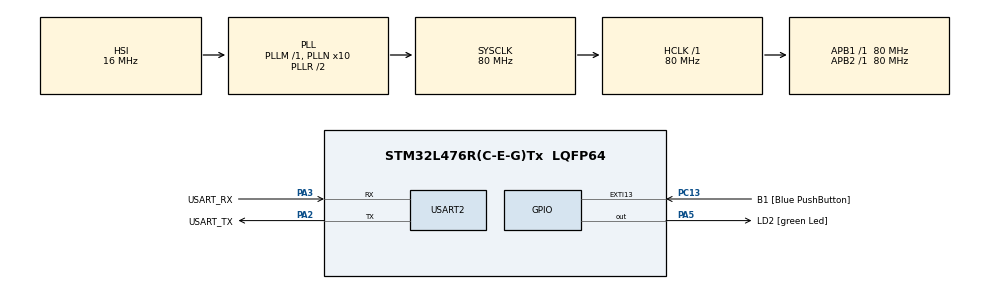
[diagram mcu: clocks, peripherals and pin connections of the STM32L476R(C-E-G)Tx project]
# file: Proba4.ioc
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Mcu.Family=STM32L4
Mcu.Name=STM32L476R(C-E-G)Tx
Mcu.Package=LQFP64
NVIC.PriorityGroup=NVIC_PRIORITYGROUP_4
NVIC.USART2_IRQn=true\:0\:0\:false\:false\:true\:true\:true\:true
PA13\ (JTMS-SWDIO).GPIO_Label=TMS
PA13\ (JTMS-SWDIO).Mode=Serial_Wire
PA13\ (JTMS-SWDIO).Signal=SYS_JTMS-SWDIO
PA14\ (JTCK-SWCLK).GPIO_Label=TCK
PA14\ (JTCK-SWCLK).Mode=Serial_Wire
PA14\ (JTCK-SWCLK).Signal=SYS_JTCK-SWCLK
PA2.GPIO_Label=USART_TX
PA2.GPIO_Mode=GPIO_MODE_AF_PP
PA2.GPIO_PuPd=GPIO_NOPULL
PA2.GPIO_Speed=GPIO_SPEED_FREQ_VERY_HIGH
PA2.Mode=Asynchronous
PA2.Signal=USART2_TX
PA3.GPIO_Label=USART_RX
PA3.GPIO_Mode=GPIO_MODE_AF_PP
PA3.GPIO_PuPd=GPIO_NOPULL
PA3.GPIO_Speed=GPIO_SPEED_FREQ_VERY_HIGH
PA3.Mode=Asynchronous
PA3.Signal=USART2_RX
PA5.GPIO_Label=LD2 [green Led]
PA5.GPIO_ModeDefaultOutputPP=GPIO_MODE_OUTPUT_PP
PA5.GPIO_PuPd=GPIO_NOPULL
PA5.GPIO_Speed=GPIO_SPEED_FREQ_LOW
PA5.Signal=GPIO_Output
PB3\ (JTDO-TRACESWO).GPIO_Label=SWO
PB3\ (JTDO-TRACESWO).Signal=SYS_JTDO-SWO
PC13.GPIO_Label=B1 [Blue PushButton]
PC13.GPIO_ModeDefaultEXTI=GPIO_MODE_IT_FALLING
PC13.GPIO_PuPd=GPIO_NOPULL
PC13.Signal=GPXTI13
PC14-OSC32_IN\ (PC14).Mode=LSE-External-Oscillator
PC14-OSC32_IN\ (PC14).Signal=RCC_OSC32_IN
PC15-OSC32_OUT\ (PC15).Mode=LSE-External-Oscillator
PC15-OSC32_OUT\ (PC15).Signal=RCC_OSC32_OUT
PH0-OSC_IN\ (PH0).Signal=RCC_OSC_IN
PH1-OSC_OUT\ (PH1).Signal=RCC_OSC_OUT
ProjectManager.HeapSize=0x200
ProjectManager.StackSize=0x400
ProjectManager.TargetToolchain=STM32CubeIDE
RCC.ADCFreq_Value=64000000
RCC.AHBFreq_Value=80000000
RCC.APB1Freq_Value=80000000
RCC.APB1TimFreq_Value=80000000
RCC.APB2Freq_Value=80000000
RCC.APB2TimFreq_Value=80000000
RCC.CortexFreq_Value=80000000
RCC.HCLKFreq_Value=80000000
RCC.HSE_VALUE=8000000
RCC.HSI_VALUE=16000000
RCC.MSI_VALUE=4000000
RCC.PLLN=10
RCC.PLLSourceVirtual=RCC_PLLSOURCE_HSI
RCC.PREFETCH_ENABLE=1
RCC.SYSCLKFreq_VALUE=80000000
RCC.SYSCLKSource=RCC_SYSCLKSOURCE_PLLCLK
RCC.USBFreq_Value=64000000
RCC.VCOOutputFreq_Value=160000000
USART2.OverrunDisableParam=ADVFEATURE_OVERRUN_ENABLE
USART2.VirtualMode-Asynchronous=VM_ASYNC
board=NUCLEO-L476RG

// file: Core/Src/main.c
/* USER CODE BEGIN Header */
/**
  ******************************************************************************
  * @file           : main.c
  * @brief          : Main program body
  ******************************************************************************
  * @attention
  *
  * Copyright (c) 2024 STMicroelectronics.
  * All rights reserved.
  *
  * This software is licensed under terms that can be found in the LICENSE file
  * in the root directory of this software component.
  * If no LICENSE file comes with this software, it is provided AS-IS.
  *
  ******************************************************************************
  */
/* USER CODE END Header */
#include "main.h"

/* USER CODE BEGIN Includes */
#include <stdarg.h>
#include <time.h>
#include <stdio.h>
#include <stdlib.h>
#include <math.h>
#include <string.h>
/* USER CODE END Includes */

/* USER CODE BEGIN PD */
#define USART_TXBUF_LEN 1512 //Długosc bufora kolowego do nadawania
#define USART_RXBUF_LEN 512  //Dlugosc bufora odbiorczego
UART_HandleTypeDef huart2;
uint8_t timer = 0;

uint8_t USART_TxBuf [USART_TXBUF_LEN];
uint8_t USART_RxBuf [USART_RXBUF_LEN];

//__IO przykrywa volatile, mówi kompilatorowi, aby nie optymalizował tej zmiennej. Za karzdym razem pobiera wartosc zmiennej z pamieci

//Wskazniki bufora nadawczego
__IO uint16_t USART_TX_Empty = 0;
__IO uint16_t USART_TX_Busy = 0;

//Wskazniki bufora odbiorczego
__IO uint16_t USART_RX_Empty = 0;
__IO uint16_t USART_RX_Busy = 0;
uint8_t debug = 0;

struct frame
{
	uint8_t frameDetected;
	uint16_t frameSize;
	char sender[4];
	char receiver[4];
	uint8_t dataSize;
	char *data;
	uint8_t checksumCalculated;
	uint8_t checksumFromFrame;
};

struct measurement
{
	uint8_t current;
	uint16_t interval;
	int16_t data[512];
};

struct frame frame;
struct measurement measurement;
/* USER CODE END PD */

UART_HandleTypeDef huart2;

void SystemClock_Config(void);
static void MX_GPIO_Init(void);
static void MX_USART2_UART_Init(void);

/* USER CODE BEGIN 0 */
void my_tout_1ms()
{
	static uint16_t ms = 0;
	ms++;

	if(ms >= measurement.interval)
	{
		ms = 0;
		timer = 1;
	}
}

//Zwraca 0, jesli bufor jest pusty. Natomiast 1, jezeli w buforze cos sie znajduje
uint8_t USART_khbit()
{
	if (USART_RX_Empty == USART_RX_Busy)
		return 0;
	else
		return 1;
}

//Pobieranie znaku z bufora
int16_t USART_getchar()
{
	uint8_t temp;
	if (USART_RX_Empty != USART_RX_Busy){
		temp = USART_RxBuf[USART_RX_Busy];
		USART_RX_Busy++;

		if (USART_RX_Busy >= USART_RXBUF_LEN)
			USART_RX_Busy = 0;

		return temp;
	}
	else return -1;
	// Zwraca -1, jezeli nic nie znajduje sie w buforze
}

//Pobieranie calej linii z bufora do podanego wskaznika
uint8_t USART_getline(char *buf)
{
	static uint8_t bf[300];
	static uint8_t idx = 0;
	int i;
	uint8_t ret;

	while(USART_khbit())
	{
		bf[idx] = USART_getchar();

		if(bf[idx] == 10 || bf[idx] == 13) //Sprawdzanie, czy znak nie jest znakiem konca linii, badz powrotu karetki
		{
			bf[idx] = 0; //Podmiana znaku na zero, poniewaz w C 0 to koniec stringa

			for(i = 0; i <= idx; i++)
				buf[i] = bf[i];

			ret = idx;
			idx = 0;
			return ret;
		}
		else
		{
			idx++;
			if (idx>= 300)
				idx = 0;
		}
	}
	return 0;
}

//Dopisywanie do bufora nadawczego
void USART_fsend(char* format,...)
{
	char tmp_rx[128];
	int i;
	__IO int idx;

	va_list arglist;
	va_start(arglist, format);
	vsprintf(tmp_rx, format, arglist);
	va_end(arglist);

	idx=USART_TX_Empty;

	for (i = 0 ; i < strlen(tmp_rx);i++)
	{
		USART_TxBuf[idx]=tmp_rx[i];
		idx++;
		if (idx>=USART_TXBUF_LEN){
			idx =0;
		}
	}

	__disable_irq(); //Blokuje przerwania w sposób softwerowy
	if ((USART_TX_Empty == USART_TX_Busy) && (__HAL_UART_GET_FLAG(&huart2, UART_FLAG_TXE) == SET))
	{
		USART_TX_Empty=idx;
		uint8_t tmp = USART_TxBuf[USART_TX_Busy];
		USART_TX_Busy++;
		if (USART_TX_Busy >= USART_TXBUF_LEN) USART_TX_Busy = 0;
		HAL_UART_Transmit_IT(&huart2, &tmp, 1);
	}
	else
		USART_TX_Empty = idx;

	__enable_irq();
}

void HAL_UART_TxCpltCallback(UART_HandleTypeDef *huart)
{
	if (huart == &huart2)
	{
		if (USART_TX_Empty != USART_TX_Busy)
		{
			uint8_t temp = USART_TxBuf[USART_TX_Busy];
			USART_TX_Busy++;
			if (USART_TX_Busy >= USART_TXBUF_LEN) USART_TX_Busy =0;
			HAL_UART_Transmit_IT(&huart2, &temp, 1);
		}
	}
}

void HAL_UART_RxCpltCallback(UART_HandleTypeDef *huart){
	if (huart == &huart2)
	{
		USART_RX_Empty++;
			if (USART_RX_Empty >= USART_RXBUF_LEN) USART_RX_Empty = 0;
			HAL_UART_Receive_IT(&huart2, &USART_RxBuf[USART_RX_Empty], 1);
	}
}

uint8_t calculateChecksum(char* command, uint8_t size)
{
	uint16_t checksum = 0;
	int i;

	for(i = 0; i < size; i++)
	{
		checksum += (int)command[i];
	}
	checksum %= 100;

	return checksum;
}

int16_t getArchiveValue(uint16_t i)
{
	int pointer = measurement.current - i;

	if(pointer < 0)
	{
		pointer = 511 + pointer;
	}

	return measurement.data[pointer];
}

void sendFrame(char* data)
{
	int dataLength = strlen(data);

	USART_fsend(":STMPC0%03d%s%02d;", dataLength, data, calculateChecksum(data, dataLength));
}

void executeCommand()
{
	// Odczytywanie komendy
	int i;
	int j;
	char* tmp = malloc(frame.dataSize * sizeof(char) + 1);
	uint8_t detectedParameter = 0;

	for(i = 0; i < frame.dataSize; i++)
	{
		if(frame.data[i] == ' ')
		{
			detectedParameter = 1;
			break;
		}
		tmp[i] = frame.data[i];
	}
	tmp[i] = 0;

	// Odczyt interwału pomiarowego
	if(strcmp(tmp, "GT") == 0)
	{
		sprintf(tmp, "STV %d", measurement.interval);
		sprintf(tmp, "Aktualny interwal wynosi: %d", measurement.interval);
		sendFrame(tmp);
		return;
	}
	// Odczyt aktualnej wartości
	else if(strcmp(tmp, "GM") == 0)
	{

		sprintf(tmp, " Odczytywanie aktualnej wartosci: SM %d", measurement.data[measurement.current]);
		sendFrame(tmp);
		return;
	}
	// Ustawienie interwału pomiarowego
	else if(strcmp(tmp, "ST") == 0)
	{
		if(detectedParameter == 0)
		{
			// Brak argumentu
			sprintf(tmp, "ERRARGV");
			sendFrame(tmp);
			return;
		}
		else
		{
			for(i = 3; i < frame.dataSize; i++)
			{
				tmp[i - 3] = frame.data[i];
			}
			tmp[i - 3] = 0;

			int interval = atoi(tmp);

			if(interval >= 100 && interval <= 10000)
			{
				// Informacja o aktualizacji intwrwału pomiarowego
				measurement.interval = interval;
				sprintf(tmp, "TU %d", measurement.interval);
				sendFrame(tmp);
				return;
			}
			else
			{
				// Nieprawidłowy zakres argumentu
				sprintf(tmp, "ERRARGVF");
				sendFrame(tmp);
				return;
			}
		}
	}
	else if(strcmp(tmp, "GAM") == 0)
		{
			if(detectedParameter == 0)
			{
				// Brak argumentu
				sprintf(tmp, "ERRARGV");
				sendFrame(tmp);
				return;
			}
			else
			{
				for(i = 3; i < frame.dataSize; i++)
				{
					tmp[i - 3] = frame.data[i];
				}

				int archiveValue = atoi(tmp);

				if(archiveValue >= 1 && archiveValue <= 511)
				{

					// Informacja o aktualizacji intwrwału pomiarowego
					sprintf(tmp, "SAM %d", getArchiveValue(archiveValue));
					sendFrame(tmp);
					return;
				}
				else
				{
					// Nieprawidłowy zakres argumentu
					sprintf(tmp, "ERRARGVF");
					sendFrame(tmp);
					return;
				}
			}
		}
	// Nie rozpoznana komenda
	else
	{
		sprintf(tmp, "ERRCMD");
		sendFrame(tmp);
		return;
	}
}

/* USER CODE END 0 */

int main(void)
{

  /* MCU Configuration--------------------------------------------------------*/

  /* Reset of all peripherals, Initializes the Flash interface and the Systick. */
  HAL_Init();

  /* Configure the system clock */
  SystemClock_Config();

  /* Initialize all configured peripherals */
  MX_GPIO_Init();
  MX_USART2_UART_Init();
  /* USER CODE BEGIN 2 */
USART_fsend("STM start\r\n");
  /* USER CODE END 2 */

  /* Infinite loop */
  /* USER CODE BEGIN WHILE */
  // TO DO
//  MX_I2C1_Init(); // Make sure this is defined and initializes I2C1 properly
//  LPS25HB_INIT(&hi2c1);

  HAL_UART_Receive_IT(&huart2, &USART_RxBuf[0], 1);
   int i;
   char dataSize[4];
   char checkSum[3];
   char recievedFrame[269];
   char recievedChar;
   uint8_t charCoddingDetected;
   srand(time(NULL));

   frame.frameDetected = 0;
   measurement.current = 0;
   measurement.interval = 1000;

  while (1)
  {
    /* USER CODE END WHILE */
  	if(timer)
  	{
  HAL_GPIO_TogglePin(LD2_GPIO_Port, LD2_Pin);

  measurement.current++;
  measurement.data[measurement.current] = rand() % 100;

  if(measurement.current > 511)
  	measurement.current = 0;

  timer = 0;
  	}

  	if(USART_khbit())
  	{
  recievedChar = USART_getchar();

  if(recievedChar == ':')
  {
  	frame.frameDetected = 1;
  	frame.frameSize = 0;
  	charCoddingDetected = 0;
  	continue;
  }

  if(frame.frameDetected && frame.frameSize < 269)
  {
  	// Dekodowanie znaków

  	if(recievedChar == '\\' && charCoddingDetected == 0)
  	{
  		charCoddingDetected = 1;
  	}
  	else if(charCoddingDetected)
  	{
  		if(recievedChar == 'A')
  		{
  			recievedFrame[frame.frameSize] = ':';
  		}
  		else if(recievedChar == 'B')
  		{
  			recievedFrame[frame.frameSize] = ';';
  		}
  		else if(recievedChar == 'C')
  		{
  			recievedFrame[frame.frameSize] = '\\';
  		}
  		else
  		{
  			// Nierozpoznane kodowanie
  			frame.frameDetected = 0;
  			USART_fsend(":STMPC0002ED%02d;", calculateChecksum("ED", 2));
  		}

  		frame.frameSize++;
  		charCoddingDetected = 0;
  	}
  	else if(recievedChar == ';')
  	{

  		if(frame.frameSize < 13)
  		{
  			frame.frameDetected = 0;
  			continue;
  		}

  		recievedFrame[frame.frameSize] = 0;

  		for(i = 0; i < 3; i++)
  		{
  			frame.sender[i] = recievedFrame[i];
  			frame.receiver[i] = recievedFrame[i + 3];
  			dataSize[i] = recievedFrame[i + 6];
  		}

  		frame.sender[3] = 0;
  		frame.receiver[3] = 0;
  		dataSize[3] = 0;
  		frame.dataSize = atoi(dataSize);
  		frame.data = malloc(frame.dataSize * sizeof(char) + 1);

  		// Przepisanie danych
  		for(i = 0; i < frame.dataSize; i++)
  		{
  			frame.data[i] = recievedFrame[i + 9];
  		}

  		frame.data[i] = 0;

  		// Odczy
  		for(i = 0; i < 2; i++)
  		{
  			checkSum[i] = recievedFrame[i + 9 + frame.dataSize];
  		}
  		checkSum[3] = 0;
  		frame.checksumFromFrame = atoi(checkSum);
  		frame.checksumCalculated = calculateChecksum(frame.data, frame.dataSize);

  		if(debug)
  		{
  			USART_fsend("\r\n\nDANE Z RAMKI:\r\n", recievedFrame);
  			USART_fsend("%s\r\n", recievedFrame);
  			USART_fsend("Sender: %s\r\n", frame.sender);
  			USART_fsend("Reciever: %s\r\n", frame.receiver);
  			USART_fsend("Data size: %03d\r\n", frame.dataSize);
  			USART_fsend("Data: %s\r\n", frame.data);
  			USART_fsend("Check sum from frame: %02d\r\n", frame.checksumFromFrame);
  			USART_fsend("Calculated checksum: %02d\r\n", frame.checksumCalculated);
  		}

  		// Ignorowanie ramki nie wysłanej przez PC0
  		if(strcmp(frame.sender, "PC0") != 0)
  			continue;

  		// Ignorowanie ramki nie przeznaczonej dla STM
  		if(strcmp(frame.receiver, "STM") != 0)
  			continue;

  		// Niewłaściwa suma kontrolna, wysłanie ramki z odpowiednim błędem
  		if(frame.checksumCalculated != frame.checksumFromFrame)
  		{
  			 USART_fsend("Otrzymana suma kontrolna: %02d, Obliczona suma kontrolna: %02d\r\n", frame.checksumFromFrame, frame.checksumCalculated);
  			USART_fsend("Dane do obliczenia sumy kontrolnej: '%s'\r\n", frame.data);
  			frame.checksumCalculated = calculateChecksum(frame.data, frame.dataSize);
  			 USART_fsend(":STMPC0005ERRCS%02d;", calculateChecksum("ERRCS", 5));
  			continue;
  		}

  		executeCommand();
  	}
  	else
  	{

  		recievedFrame[frame.frameSize] = recievedChar;
  		frame.frameSize++;

  		if(frame.frameSize >= 269)
  		{
  			frame.frameDetected = 0;
  		}

  	}
  }
  else if(frame.frameDetected && frame.frameSize >= 269)
  {
  	frame.frameDetected = 0;
  }
  	}
  }
}

void SystemClock_Config(void)
{
  RCC_OscInitTypeDef RCC_OscInitStruct = {0};
  RCC_ClkInitTypeDef RCC_ClkInitStruct = {0};

  /** Configure the main internal regulator output voltage
  */
  if (HAL_PWREx_ControlVoltageScaling(PWR_REGULATOR_VOLTAGE_SCALE1) != HAL_OK)
  {
    Error_Handler();
  }

  /** Initializes the RCC Oscillators according to the specified parameters
  * in the RCC_OscInitTypeDef structure.
  */
  RCC_OscInitStruct.OscillatorType = RCC_OSCILLATORTYPE_HSI;
  RCC_OscInitStruct.HSIState = RCC_HSI_ON;
  RCC_OscInitStruct.HSICalibrationValue = RCC_HSICALIBRATION_DEFAULT;
  RCC_OscInitStruct.PLL.PLLState = RCC_PLL_ON;
  RCC_OscInitStruct.PLL.PLLSource = RCC_PLLSOURCE_HSI;
  RCC_OscInitStruct.PLL.PLLM = 1;
  RCC_OscInitStruct.PLL.PLLN = 10;
  RCC_OscInitStruct.PLL.PLLP = RCC_PLLP_DIV7;
  RCC_OscInitStruct.PLL.PLLQ = RCC_PLLQ_DIV2;
  RCC_OscInitStruct.PLL.PLLR = RCC_PLLR_DIV2;
  if (HAL_RCC_OscConfig(&RCC_OscInitStruct) != HAL_OK)
  {
    Error_Handler();
  }

  /** Initializes the CPU, AHB and APB buses clocks
  */
  RCC_ClkInitStruct.ClockType = RCC_CLOCKTYPE_HCLK|RCC_CLOCKTYPE_SYSCLK
                              |RCC_CLOCKTYPE_PCLK1|RCC_CLOCKTYPE_PCLK2;
  RCC_ClkInitStruct.SYSCLKSource = RCC_SYSCLKSOURCE_PLLCLK;
  RCC_ClkInitStruct.AHBCLKDivider = RCC_SYSCLK_DIV1;
  RCC_ClkInitStruct.APB1CLKDivider = RCC_HCLK_DIV1;
  RCC_ClkInitStruct.APB2CLKDivider = RCC_HCLK_DIV1;

  if (HAL_RCC_ClockConfig(&RCC_ClkInitStruct, FLASH_LATENCY_4) != HAL_OK)
  {
    Error_Handler();
  }
}

static void MX_USART2_UART_Init(void)
{

  huart2.Instance = USART2;
  huart2.Init.BaudRate = 115200;
  huart2.Init.WordLength = UART_WORDLENGTH_8B;
  huart2.Init.StopBits = UART_STOPBITS_1;
  huart2.Init.Parity = UART_PARITY_NONE;
  huart2.Init.Mode = UART_MODE_TX_RX;
  huart2.Init.HwFlowCtl = UART_HWCONTROL_NONE;
  huart2.Init.OverSampling = UART_OVERSAMPLING_16;
  huart2.Init.OneBitSampling = UART_ONE_BIT_SAMPLE_DISABLE;
  huart2.AdvancedInit.AdvFeatureInit = UART_ADVFEATURE_NO_INIT;
  if (HAL_UART_Init(&huart2) != HAL_OK)
  {
    Error_Handler();
  }

}

static void MX_GPIO_Init(void)
{
  GPIO_InitTypeDef GPIO_InitStruct = {0};

  /* GPIO Ports Clock Enable */
  __HAL_RCC_GPIOC_CLK_ENABLE();
  __HAL_RCC_GPIOH_CLK_ENABLE();
  __HAL_RCC_GPIOA_CLK_ENABLE();
  __HAL_RCC_GPIOB_CLK_ENABLE();

  /*Configure GPIO pin Output Level */
  HAL_GPIO_WritePin(LD2_GPIO_Port, LD2_Pin, GPIO_PIN_RESET);

  /*Configure GPIO pin : B1_Pin */
  GPIO_InitStruct.Pin = B1_Pin;
  GPIO_InitStruct.Mode = GPIO_MODE_IT_FALLING;
  GPIO_InitStruct.Pull = GPIO_NOPULL;
  HAL_GPIO_Init(B1_GPIO_Port, &GPIO_InitStruct);

  /*Configure GPIO pin : LD2_Pin */
  GPIO_InitStruct.Pin = LD2_Pin;
  GPIO_InitStruct.Mode = GPIO_MODE_OUTPUT_PP;
  GPIO_InitStruct.Pull = GPIO_NOPULL;
  GPIO_InitStruct.Speed = GPIO_SPEED_FREQ_LOW;
  HAL_GPIO_Init(LD2_GPIO_Port, &GPIO_InitStruct);

}

void Error_Handler(void)
{
  __disable_irq();
  while (1)
  {
  }
}
